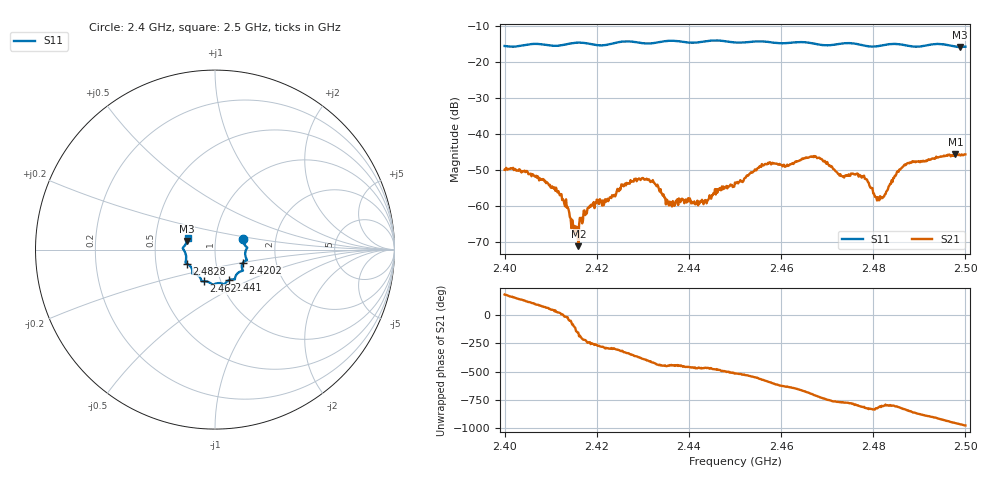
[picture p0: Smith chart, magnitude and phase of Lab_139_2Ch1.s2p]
# Hz S RI R 50
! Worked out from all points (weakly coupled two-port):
!   601 points, 2.4 GHz to 2.5 GHz, reference 50 ohm
!   highest |S21| = -45.43 dB at 2.4978 GHz (marker M1); lowest = -71.1 dB at 2.416 GHz (marker M2)
!   lowest |S11| = -15.8 dB at 2.4988 GHz (marker M3), VSWR 1.39, Z = 36.4 + j3.41 ohm
!   |S11| at or under -10 dB: start of sweep to end of sweep
!   S12 and S22 are empty: the file has one direction only
!   S11 on the Smith chart (normalised r, x): 2.4 GHz: 1.36, +0.17; 2.4202 GHz: 1.35, -0.20; 2.441 GHz: 1.10, -0.39; 2.462 GHz: 0.83, -0.30; 2.4828 GHz: 0.72, -0.12; 2.5 GHz: 0.73, +0.09
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2.4e9  0.157 0.0607  -0.00321 5.82e-05  0 0  0 0
2.410833e9  0.1685 -0.0162  0.00158 0.000931  0 0  0 0
2.4155e9  0.1781 -0.0569  -0.000353 -0.000252  0 0  0 0
2.416e9  0.1782 -0.0582  -0.000257 -0.00011  0 0  0 0
2.416667e9  0.1775 -0.0591  -0.000633 0.000283  0 0  0 0
2.420167e9  0.1568 -0.0721  6.98e-05 0.00124  0 0  0 0
2.428667e9  0.1472 -0.1195  0.00222 -0.000254  0 0  0 0
2.433333e9  0.1129 -0.1522  0.000279 -0.00186  0 0  0 0
2.435833e9  0.1102 -0.1655  0.000133 -0.00115  0 0  0 0
2.441e9  0.0772 -0.1703  -0.000294 -0.00107  0 0  0 0
2.45e9  0.0271 -0.1868  -0.00199 -0.000805  0 0  0 0
2.456333e9  -0.0159 -0.1937  -0.00297 0.00231  0 0  0 0
2.462e9  -0.0614 -0.1762  0.00069 0.00379  0 0  0 0
2.466667e9  -0.0775 -0.1672  0.00449 0.00185  0 0  0 0
2.478167e9  -0.1272 -0.113  -0.000418 -0.00238  0 0  0 0
2.480833e9  -0.1425 -0.0871  -0.000314 -0.00116  0 0  0 0
2.482833e9  -0.1578 -0.0778  0.000277 -0.00158  0 0  0 0
2.483333e9  -0.1606 -0.0766  0.000293 -0.00186  0 0  0 0
2.487167e9  -0.1613 -0.058  -0.00186 -0.00334  0 0  0 0
2.497833e9  -0.1616 0.0332  -0.00298 0.00445  0 0  0 0
2.498833e9  -0.1562 0.0457  -0.00214 0.00465  0 0  0 0
2.5e9  -0.1531 0.0618  -0.00129 0.0051  0 0  0 0
